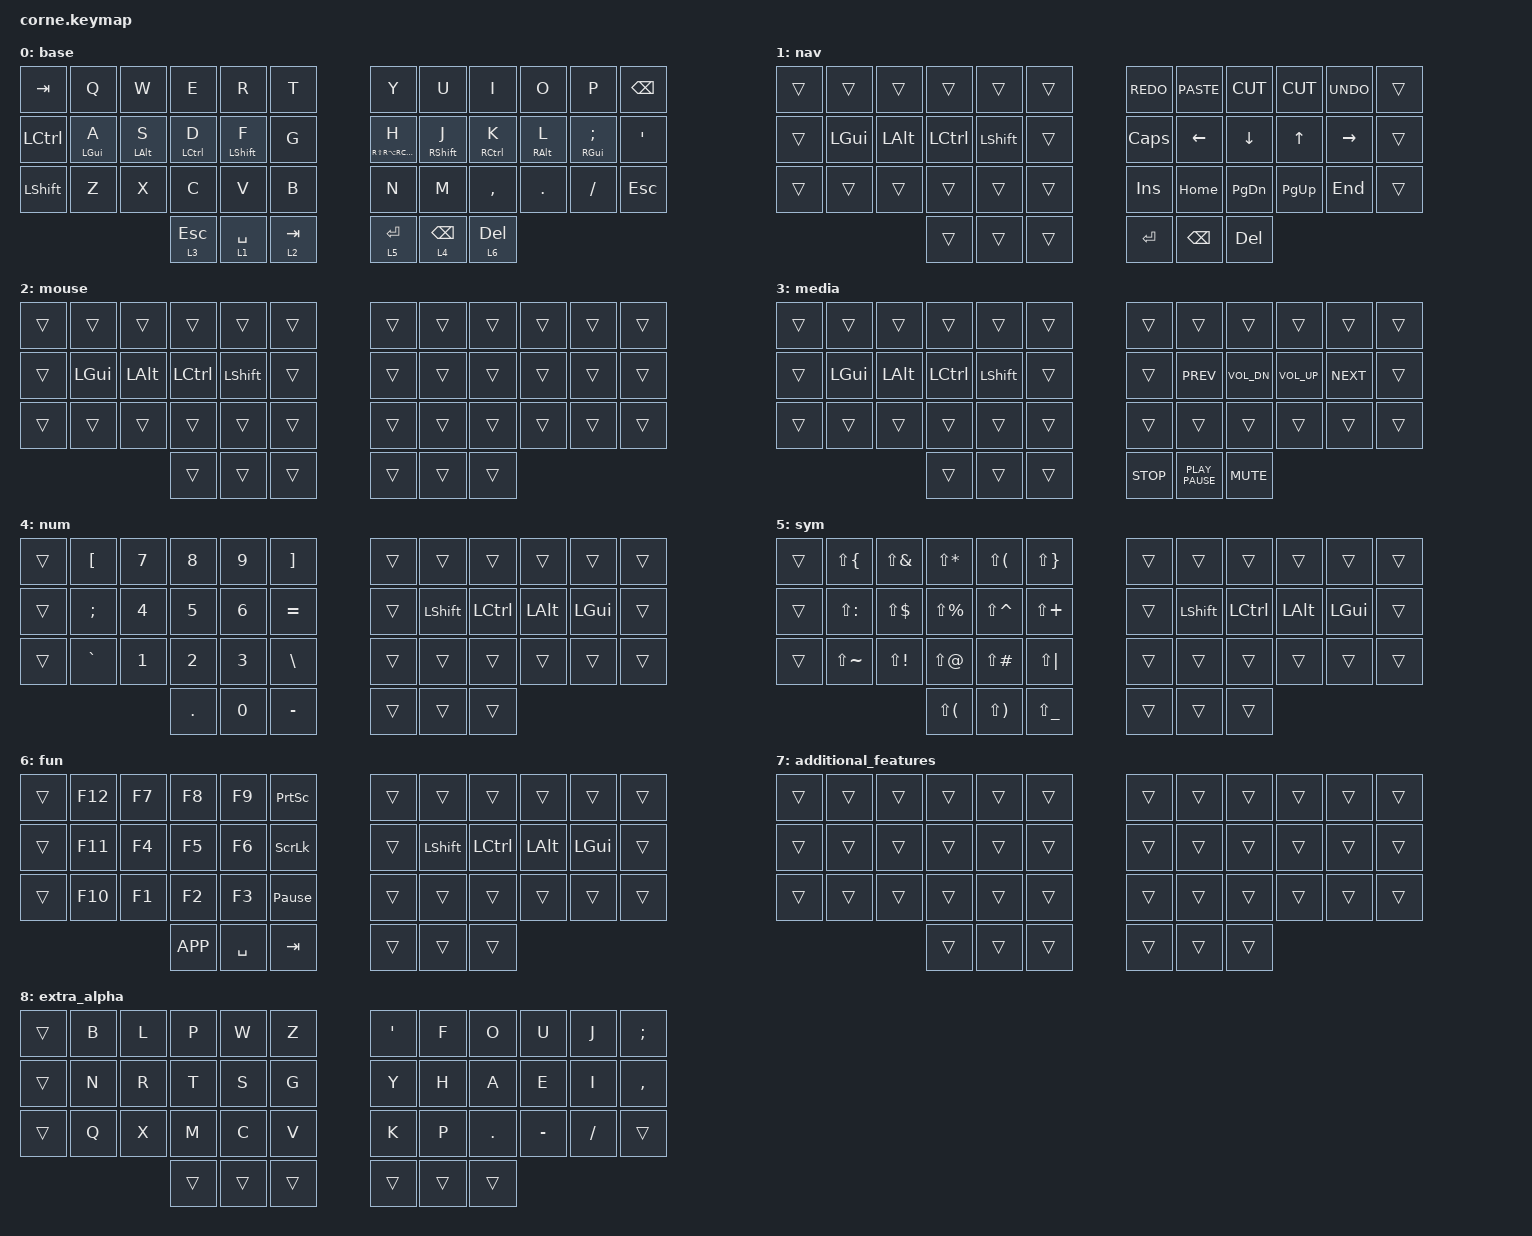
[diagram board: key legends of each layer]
/*
 * Copyright (c) 2020 The ZMK Contributors
 *
 * SPDX-License-Identifier: MIT
 */

#include <behaviors.dtsi>
#include <dt-bindings/zmk/keys.h>

/ {
    macros {
        hyper: hyper {
            compatible = "zmk,behavior-macro";
            #binding-cells = <0>;
            bindings =
                <&kp LEFT_SHIFT &kp LCTRL &kp LEFT_ALT &kp LEFT_GUI &kp G>,
                <&macro_press>;

            label = "HYPER";
        };
    };

    keymap {
        compatible = "zmk,keymap";

        base {
            // -----------------------------------------------------------------------------------------
            // |  TAB |  Q  |  W  |  E  |  R  |  T  |   |  Y  |  U   |  I  |  O  |  P  | BSPC |
            // | CTRL |  A  |  S  |  D  |  F  |  G  |   |  H  |  J   |  K  |  L  |  ;  |  '   |
            // | SHFT |  Z  |  X  |  C  |  V  |  B  |   |  N  |  M   |  ,  |  .  |  /  | ESC  |
            //                    | GUI | LWR | SPC |   | ENT | RSE  | ALT |

            bindings = <
&kp TAB    &kp Q           &kp W           &kp E        &kp R             &kp T        &kp Y                              &kp U              &kp I        &kp O            &kp P               &kp BSPC
&kp LCTRL  &mt LEFT_GUI A  &mt LEFT_ALT S  &mt LCTRL D  &mt LEFT_SHIFT F  &kp G        &mt RS(RA(RC(RG(RIGHT_SHIFT)))) H  &mt RIGHT_SHIFT J  &mt RCTRL K  &mt RIGHT_ALT L  &mt RIGHT_GUI SEMI  &kp SQT
&kp LSHFT  &kp Z           &kp X           &kp C        &kp V             &kp B        &kp N                              &kp M              &kp COMMA    &kp DOT          &kp FSLH            &kp ESC
                                           &lt 3 ESC    &lt 1 SPACE       &lt 2 TAB    &lt 5 ENTER                        &lt 4 BACKSPACE    &lt 6 DEL
            >;
        };

        nav {
            bindings = <
&trans  &trans    &trans    &trans     &trans     &trans    &kp K_REDO    &kp K_PASTE  &kp K_CUT      &kp K_CUT    &kp K_UNDO  &trans
&trans  &kp LGUI  &kp LALT  &kp LCTRL  &kp LSHFT  &trans    &kp CAPSLOCK  &kp LEFT     &kp DOWN       &kp UP       &kp RIGHT   &trans
&trans  &trans    &trans    &trans     &trans     &trans    &kp INSERT    &kp HOME     &kp PAGE_DOWN  &kp PAGE_UP  &kp END     &trans
                            &trans     &trans     &trans    &kp ENTER     &kp BSPC     &kp DELETE
            >;
        };

        mouse {
            bindings = <
&trans  &trans    &trans    &trans     &trans     &trans    &trans  &trans  &trans  &trans  &trans  &trans
&trans  &kp LGUI  &kp LALT  &kp LCTRL  &kp LSHFT  &trans    &trans  &trans  &trans  &trans  &trans  &trans
&trans  &trans    &trans    &trans     &trans     &trans    &trans  &trans  &trans  &trans  &trans  &trans
                            &trans     &trans     &trans    &trans  &trans  &trans
            >;
        };

        media {
            bindings = <
&trans  &trans    &trans    &trans     &trans     &trans    &trans      &trans            &trans        &trans        &trans      &trans
&trans  &kp LGUI  &kp LALT  &kp LCTRL  &kp LSHFT  &trans    &trans      &kp K_PREV        &kp C_VOL_DN  &kp C_VOL_UP  &kp K_NEXT  &trans
&trans  &trans    &trans    &trans     &trans     &trans    &trans      &trans            &trans        &trans        &trans      &trans
                            &trans     &trans     &trans    &kp K_STOP  &kp K_PLAY_PAUSE  &kp K_MUTE
            >;
        };

        num {
            bindings = <
&trans  &kp LBKT   &kp N7  &kp N8   &kp N9  &kp RBKT     &trans  &trans     &trans     &trans    &trans    &trans
&trans  &kp SEMI   &kp N4  &kp N5   &kp N6  &kp EQUAL    &trans  &kp LSHFT  &kp LCTRL  &kp LALT  &kp LGUI  &trans
&trans  &kp GRAVE  &kp N1  &kp N2   &kp N3  &kp BSLH     &trans  &trans     &trans     &trans    &trans    &trans
                           &kp DOT  &kp N0  &kp MINUS    &trans  &trans     &trans
            >;
        };

        sym {
            bindings = <
&trans  &kp LS(LBRC)   &kp LS(AMPS)  &kp LS(STAR)   &kp LS(LPAR)   &kp LS(RBRC)     &trans  &trans     &trans     &trans    &trans    &trans
&trans  &kp LS(COLON)  &kp LS(DLLR)  &kp LS(PRCNT)  &kp LS(CARET)  &kp LS(PLUS)     &trans  &kp LSHFT  &kp LCTRL  &kp LALT  &kp LGUI  &trans
&trans  &kp LS(TILDE)  &kp LS(EXCL)  &kp LS(AT)     &kp LS(POUND)  &kp LS(PIPE)     &trans  &trans     &trans     &trans    &trans    &trans
                                     &kp LS(LPAR)   &kp LS(RPAR)   &kp LS(UNDER)    &trans  &trans     &trans
            >;
        };

        fun {
            bindings = <
&trans  &kp F12  &kp F7  &kp F8     &kp F9     &kp PRINTSCREEN    &trans  &trans     &trans     &trans    &trans    &trans
&trans  &kp F11  &kp F4  &kp F5     &kp F6     &kp SCROLLLOCK     &trans  &kp LSHFT  &kp LCTRL  &kp LALT  &kp LGUI  &trans
&trans  &kp F10  &kp F1  &kp F2     &kp F3     &kp PAUSE_BREAK    &trans  &trans     &trans     &trans    &trans    &trans
                         &kp K_APP  &kp SPACE  &kp TAB            &trans  &trans     &trans
            >;
        };

        additional_features {
            bindings = <
&trans  &trans  &trans  &trans  &trans  &trans    &trans  &trans  &trans  &trans  &trans  &trans
&trans  &trans  &trans  &trans  &trans  &trans    &trans  &trans  &trans  &trans  &trans  &trans
&trans  &trans  &trans  &trans  &trans  &trans    &trans  &trans  &trans  &trans  &trans  &trans
                        &trans  &trans  &trans    &trans  &trans  &trans
            >;
        };

        extra_alpha {
            bindings = <
&trans  &kp B  &kp L  &kp P   &kp W   &kp Z     &kp SQT  &kp F   &kp O    &kp U      &kp J     &kp SEMI
&trans  &kp N  &kp R  &kp T   &kp S   &kp G     &kp Y    &kp H   &kp A    &kp E      &kp I     &kp COMMA
&trans  &kp Q  &kp X  &kp M   &kp C   &kp V     &kp K    &kp P   &kp DOT  &kp MINUS  &kp FSLH  &trans
                      &trans  &trans  &trans    &trans   &trans  &trans
            >;
        };
    };
};
